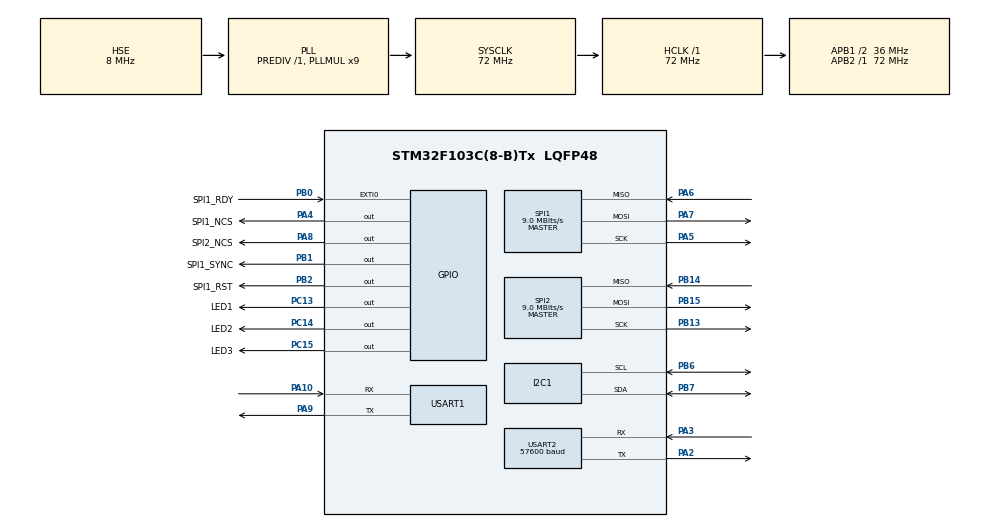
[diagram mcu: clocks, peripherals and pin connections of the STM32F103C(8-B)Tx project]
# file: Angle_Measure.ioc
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Mcu.Family=STM32F1
PA6.Mode=Full_Duplex_Master
FATFS._USE_LFN=1
SPI1.VirtualType=VM_MASTER
SPI2.VirtualType=VM_MASTER
PB0.GPIO_Label=SPI1_RDY
PB13.Signal=SPI2_SCK
PB15.Signal=SPI2_MOSI
PC15-OSC32_OUT.GPIO_Label=LED3
RCC.SYSCLKSource=RCC_SYSCLKSOURCE_PLLCLK
ProjectManager.StackSize=0x400
PD1-OSC_OUT.Signal=RCC_OSC_OUT
SPI1.Direction=SPI_DIRECTION_2LINES
RCC.HCLKFreq_Value=72000000
RCC.APB2TimFreq_Value=72000000
PB6.Signal=I2C1_SCL
SPI1.CalculateBaudRate=9.0 MBits/s
PB6.Mode=I2C
RCC.AHBFreq_Value=72000000
SPI2.BaudRatePrescaler=SPI_BAUDRATEPRESCALER_4
PB2.Signal=GPIO_Output
RCC.PLLMUL=RCC_PLL_MUL9
FATFS._USE_STRFUNC=2
PB0.GPIO_ModeDefaultEXTI=GPIO_MODE_IT_FALLING
PA14.Mode=Serial_Wire
PB14.Mode=Full_Duplex_Master
PB1.GPIO_Label=SPI1_SYNC
SPI2.CalculateBaudRate=9.0 MBits/s
PB7.Signal=I2C1_SDA
PA8.Signal=GPIO_Output
Mcu.Package=LQFP48
TIM2.Prescaler=36-1
PB1.Signal=GPIO_Output
PA6.Signal=SPI1_MISO
SPI2.Mode=SPI_MODE_MASTER
USART2.VirtualMode=VM_ASYNC
PA10.Signal=USART1_RX
SPI2.CLKPhase=SPI_PHASE_1EDGE
RCC.APB1TimFreq_Value=72000000
PC14-OSC32_IN.GPIO_Label=LED2
SPI2.Direction=SPI_DIRECTION_2LINES
PB13.Mode=Full_Duplex_Master
NVIC.USART1_IRQn=true\:0\:0\:false\:false\:true\:true\:true
SPI1.BaudRatePrescaler=SPI_BAUDRATEPRESCALER_8
PA4.GPIO_Label=SPI1_NCS
PA3.Signal=USART2_RX
PA5.Mode=Full_Duplex_Master
RCC.PLLSourceVirtual=RCC_PLLSOURCE_HSE
PA7.Mode=Full_Duplex_Master
PD1-OSC_OUT.Mode=HSE-External-Oscillator
PA10.Mode=Asynchronous
PC13-TAMPER-RTC.Signal=GPIO_Output
SPI1.CLKPhase=SPI_PHASE_2EDGE
PD0-OSC_IN.Signal=RCC_OSC_IN
RCC.APB1CLKDivider=RCC_HCLK_DIV2
PC14-OSC32_IN.Signal=GPIO_Output
USART2.BaudRate=57600
PA13.Signal=SYS_JTMS-SWDIO
PA3.Mode=Asynchronous
PA9.Mode=Asynchronous
PA8.GPIO_Label=SPI2_NCS
ProjectManager.TargetToolchain=STM32CubeIDE
I2C1.I2C_Mode=I2C_Fast
PA9.Signal=USART1_TX
RCC.USBFreq_Value=72000000
PC15-OSC32_OUT.Signal=GPIO_Output
VP_FATFS_VS_Generic.Mode=User_defined
PD0-OSC_IN.Mode=HSE-External-Oscillator
PB14.Signal=SPI2_MISO
PA5.Signal=SPI1_SCK
board=custom
PC13-TAMPER-RTC.GPIO_Label=LED1
PB15.Mode=Full_Duplex_Master
RCC.APB2Freq_Value=72000000
VP_TIM2_VS_ClockSourceINT.Mode=Internal
SPI1.Mode=SPI_MODE_MASTER
TIM2.Period=65535-1
PA13.Mode=Serial_Wire
Mcu.Name=STM32F103C(8-B)Tx
PA2.Signal=USART2_TX
FATFS._MAX_SS=1024
NVIC.EXTI0_IRQn=true\:0\:0\:false\:false\:true\:true\:true
PA4.Signal=GPIO_Output
RCC.SYSCLKFreq_VALUE=72000000
USART1.VirtualMode=VM_ASYNC
PB7.Mode=I2C
PA14.Signal=SYS_JTCK-SWCLK
PB2.GPIO_Label=SPI1_RST
ProjectManager.HeapSize=0x200
NVIC.PriorityGroup=NVIC_PRIORITYGROUP_4
PA2.Mode=Asynchronous
RCC.APB1Freq_Value=36000000
PB0.Signal=GPXTI0
PA7.Signal=SPI1_MOSI

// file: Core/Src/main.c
/* USER CODE BEGIN Header */
/**
 ******************************************************************************
 * @file           : main.c
 * @brief          : Main program body
 ******************************************************************************
 * @attention
 *
 * <h2><center>&copy; Copyright (c) 2020 STMicroelectronics.
 * All rights reserved.</center></h2>
 *
 * This software component is licensed by ST under BSD 3-Clause license,
 * the "License"; You may not use this file except in compliance with the
 * License. You may obtain a copy of the License at:
 *                        opensource.org/licenses/BSD-3-Clause
 *
 ******************************************************************************
 */
/* USER CODE END Header */
#include "main.h"
#include "fatfs.h"

/* USER CODE BEGIN Includes */
#include "fatfs_sd.h"
#include "string.h"
#include "stdio.h"
#include "stdint.h"
#include "ads1256.h"
#include "file_handling.h"
#include "UartRingbuffer.h"
#include "stm32f1xx_it.h"
//#include "MPU6050.h"
#include "mpu60501.h"

/* USER CODE END Includes */

/* USER CODE BEGIN PD */

#define FILE_BASE_NAME "DIR"
/* USER CODE END PD */

I2C_HandleTypeDef hi2c1;

SPI_HandleTypeDef hspi1;
SPI_HandleTypeDef hspi2;

TIM_HandleTypeDef htim2;

UART_HandleTypeDef huart1;
UART_HandleTypeDef huart2;

/* USER CODE BEGIN PV */

FATFS fs;
FIL fil;
FRESULT fresult;
extern char buffer[512];
char *exchange_buffer1[1];
int conversion_trigger = 0;
int line_counter = 0;
//char uart_buffer[128];

MPU6050_t MPU6050;

typedef struct __attribute__((packed)) _data_buffer {
	uint32_t elapsed;
	int16_t angleX_n;
	int16_t angleY_n;
	uint32_t adc_return1;
	uint32_t adc_return2;
	uint32_t adc_return3;
	uint32_t adc_return4;
	uint32_t adc_return5;
	uint32_t adc_return6;
	uint32_t adc_return7;
	uint32_t adc_return8;
} data_buffer;

unsigned int j;

//char BufferOut[512];

uint32_t time_counter = 0;

//extern float angleX, angleY, angleZ;
//extern unsigned long preInterval;

/* USER CODE END PV */

void SystemClock_Config(void);
static void MX_GPIO_Init(void);
static void MX_TIM2_Init(void);
static void MX_SPI1_Init(void);
static void MX_USART1_UART_Init(void);
static void MX_SPI2_Init(void);
static void MX_I2C1_Init(void);
static void MX_USART2_UART_Init(void);

/* USER CODE BEGIN 0 */

const uint8_t BASE_NAME_SIZE = sizeof(FILE_BASE_NAME) - 1;
char fileName[] = FILE_BASE_NAME "00.txt";

char cmd = 0;

/* USER CODE END 0 */

int main(void)
{

	/* MCU Configuration--------------------------------------------------------*/

	/* Reset of all peripherals, Initializes the Flash interface and the Systick. */
	HAL_Init();

	/* USER CODE BEGIN Init */
	for (j = 0; j<sizeof(buffer);j++)
	{
		buffer[j] = '\0';
		if(j == 511)
		{
			buffer[j] = '\n';
		}
	}

	/* USER CODE END Init */

	/* Configure the system clock */
	SystemClock_Config();

	/* Initialize all configured peripherals */
	MX_GPIO_Init();
	MX_TIM2_Init();
	MX_SPI1_Init();
	MX_USART1_UART_Init();
	MX_FATFS_Init();
	MX_SPI2_Init();
	MX_I2C1_Init();
	MX_USART2_UART_Init();
	/* USER CODE BEGIN 2 */
	HAL_TIM_Base_Start(&htim2);
	HAL_GPIO_WritePin(SPI1_RST_GPIO_Port, SPI1_RST_Pin, 1);
	Ringbuf_init();
	HAL_GPIO_WritePin(LED1_GPIO_Port, LED1_Pin, 0);
	HAL_GPIO_WritePin(LED2_GPIO_Port, LED2_Pin, 1);
	HAL_GPIO_WritePin(LED3_GPIO_Port, LED3_Pin, 1);
	data_buffer sensor_info;
	HAL_Delay(1000);
	send_uart("Inicializando lado direito. Por favor, aguarde...\n");

	initADS();

	send_uart("Montando SD...\n");

	mount_sd();

	create_file_mod(BASE_NAME_SIZE, fileName);

	send_uart("Inicializando IMU...\n");
	//MPU6050_Init();
	//MPU6050_Retrieve_Data();
	while (MPU60501_Init() == 1);
	send_uart("IMU inicializada com sucesso. Sistema pronto.\n");
	/* USER CODE END 2 */

	/* Infinite loop */
	while (1) {

		/* USER CODE BEGIN 3 */
		// ------------------------------------
		// Testing the ADS1256 functions
		// ------------------------------------
		//send_uart("Faaaaaaaaala Nigeeeeeel\n");
		//MPU6050_Update();
		MPU60501_Read_All(&MPU6050);
		//HAL_Delay(50);

		if (conversion_trigger == 1) {
			if (GetMicros() - time_counter > 6500)
			{
				sensor_info.adc_return1 = read_Value(0x68);
				sensor_info.adc_return2 = read_Value(0x58);
				sensor_info.adc_return4 = read_Value(0x48);
				sensor_info.adc_return5 = read_Value(0x38);
				sensor_info.adc_return6 = read_Value(0x28);
				sensor_info.adc_return7 = read_Value(0x18);
				sensor_info.adc_return8 = read_Value(0x08);
				sensor_info.adc_return3 = read_Value(0x78);
				sensor_info.elapsed = UptimeMillis;
				sensor_info.angleX_n = MPU6050.KalmanAngleX*100;
				sensor_info.angleY_n = MPU6050.KalmanAngleY*100;
				/*sprintf(buffer,"%lu\t%hi\t%hi\t%lu\t%lu\t%lu\t%lu\t%lu\t%lu\t%lu\t%lu\n",
						sensor_info.elapsed,sensor_info.angleX_n,sensor_info.angleY_n,sensor_info.adc_return1,
						sensor_info.adc_return2, sensor_info.adc_return4,
						sensor_info.adc_return5, sensor_info.adc_return6,
						sensor_info.adc_return7, sensor_info.adc_return8,
						sensor_info.adc_return3);*/
				//send_uart(buffer);
				time_counter = GetMicros();
				//				const uint8_t buflen = strlen(buffer);
				//				memccpy(&buffer_SD[line_counter * buflen], buffer, 0, buflen);
				//				if (line_counter * buflen > BUFFER_SIZE * ROW_SIZE - buflen) {

				char *pMyData = &sensor_info;

				for (j = 0; j<sizeof(data_buffer);j++)
				{
					buffer[j+40*line_counter] = pMyData[j];
				}
				line_counter++;
				if(line_counter == 12){
					//send_uart_byte(buffer);
					//HAL_UART_Transmit(&huart1, (uint8_t *) buffer, sizeof(buffer), 2000);
					write_file_byte(fileName);
					line_counter = 0;
					//clear_buffer_SD();
					//clear_buffer();
				}
			}
		}

		if (conversion_trigger == 2) {

		}

		if (conversion_trigger == 3) {

		}

		if (conversion_trigger == 4) {

		}
		// ------------------------------------
		// Strip of the code that treats the SD
		// ------------------------------------
		while (IsDataAvailable()) {
			//		  buffer = Uart_read();
			Get_string(buffer);
			uint8_t len = cmdlength(buffer);
			get_path();
			//

			if (!(strncmp("begin", buffer, len)))
				cmd = 'x';

			if (!(strncmp("end", buffer, len)))
				cmd = 'b';

			switch (cmd) {
			case ('x'):
																						cmd = 0;
			conversion_trigger = 1;
			UptimeMillis = 0;
			//preInterval = UptimeMillis;
			clear_buffer();
			clear_path();
			HAL_GPIO_WritePin(LED1_GPIO_Port, LED1_Pin, 1);
			HAL_GPIO_WritePin(LED2_GPIO_Port, LED2_Pin, 0);
			HAL_GPIO_WritePin(LED3_GPIO_Port, LED3_Pin, 1);
			break;

			case ('b'):
																						HAL_GPIO_WritePin(LED1_GPIO_Port, LED1_Pin, 0);
			HAL_GPIO_WritePin(LED2_GPIO_Port, LED2_Pin, 1);
			HAL_GPIO_WritePin(LED3_GPIO_Port, LED3_Pin, 1);
			cmd = 0;
			conversion_trigger = 0;
			write_file_mod(fileName, buffer_SD);
			close_file(fileName);
			clear_buffer_SD();
			clear_buffer();
			clear_path();
			create_file_mod(BASE_NAME_SIZE, fileName);
			break;

			default:
				clear_buffer();
				clear_path();
				break;
			}
		}
	}
	/* USER CODE END 3 */
}

void SystemClock_Config(void)
{
	RCC_OscInitTypeDef RCC_OscInitStruct = {0};
	RCC_ClkInitTypeDef RCC_ClkInitStruct = {0};

	/** Initializes the RCC Oscillators according to the specified parameters
	 * in the RCC_OscInitTypeDef structure.
	 */
	RCC_OscInitStruct.OscillatorType = RCC_OSCILLATORTYPE_HSE;
	RCC_OscInitStruct.HSEState = RCC_HSE_ON;
	RCC_OscInitStruct.HSEPredivValue = RCC_HSE_PREDIV_DIV1;
	RCC_OscInitStruct.HSIState = RCC_HSI_ON;
	RCC_OscInitStruct.PLL.PLLState = RCC_PLL_ON;
	RCC_OscInitStruct.PLL.PLLSource = RCC_PLLSOURCE_HSE;
	RCC_OscInitStruct.PLL.PLLMUL = RCC_PLL_MUL9;
	if (HAL_RCC_OscConfig(&RCC_OscInitStruct) != HAL_OK)
	{
		Error_Handler();
	}
	/** Initializes the CPU, AHB and APB buses clocks
	 */
	RCC_ClkInitStruct.ClockType = RCC_CLOCKTYPE_HCLK|RCC_CLOCKTYPE_SYSCLK
			|RCC_CLOCKTYPE_PCLK1|RCC_CLOCKTYPE_PCLK2;
	RCC_ClkInitStruct.SYSCLKSource = RCC_SYSCLKSOURCE_PLLCLK;
	RCC_ClkInitStruct.AHBCLKDivider = RCC_SYSCLK_DIV1;
	RCC_ClkInitStruct.APB1CLKDivider = RCC_HCLK_DIV2;
	RCC_ClkInitStruct.APB2CLKDivider = RCC_HCLK_DIV1;

	if (HAL_RCC_ClockConfig(&RCC_ClkInitStruct, FLASH_LATENCY_2) != HAL_OK)
	{
		Error_Handler();
	}
}

static void MX_I2C1_Init(void)
{

	hi2c1.Instance = I2C1;
	hi2c1.Init.ClockSpeed = 400000;
	hi2c1.Init.DutyCycle = I2C_DUTYCYCLE_2;
	hi2c1.Init.OwnAddress1 = 0;
	hi2c1.Init.AddressingMode = I2C_ADDRESSINGMODE_7BIT;
	hi2c1.Init.DualAddressMode = I2C_DUALADDRESS_DISABLE;
	hi2c1.Init.OwnAddress2 = 0;
	hi2c1.Init.GeneralCallMode = I2C_GENERALCALL_DISABLE;
	hi2c1.Init.NoStretchMode = I2C_NOSTRETCH_DISABLE;
	if (HAL_I2C_Init(&hi2c1) != HAL_OK)
	{
		Error_Handler();
	}

}

static void MX_SPI1_Init(void)
{

	/* SPI1 parameter configuration*/
	hspi1.Instance = SPI1;
	hspi1.Init.Mode = SPI_MODE_MASTER;
	hspi1.Init.Direction = SPI_DIRECTION_2LINES;
	hspi1.Init.DataSize = SPI_DATASIZE_8BIT;
	hspi1.Init.CLKPolarity = SPI_POLARITY_LOW;
	hspi1.Init.CLKPhase = SPI_PHASE_2EDGE;
	hspi1.Init.NSS = SPI_NSS_SOFT;
	hspi1.Init.BaudRatePrescaler = SPI_BAUDRATEPRESCALER_8;
	hspi1.Init.FirstBit = SPI_FIRSTBIT_MSB;
	hspi1.Init.TIMode = SPI_TIMODE_DISABLE;
	hspi1.Init.CRCCalculation = SPI_CRCCALCULATION_DISABLE;
	hspi1.Init.CRCPolynomial = 10;
	if (HAL_SPI_Init(&hspi1) != HAL_OK)
	{
		Error_Handler();
	}

}

static void MX_SPI2_Init(void)
{

	/* SPI2 parameter configuration*/
	hspi2.Instance = SPI2;
	hspi2.Init.Mode = SPI_MODE_MASTER;
	hspi2.Init.Direction = SPI_DIRECTION_2LINES;
	hspi2.Init.DataSize = SPI_DATASIZE_8BIT;
	hspi2.Init.CLKPolarity = SPI_POLARITY_LOW;
	hspi2.Init.CLKPhase = SPI_PHASE_1EDGE;
	hspi2.Init.NSS = SPI_NSS_SOFT;
	hspi2.Init.BaudRatePrescaler = SPI_BAUDRATEPRESCALER_4;
	hspi2.Init.FirstBit = SPI_FIRSTBIT_MSB;
	hspi2.Init.TIMode = SPI_TIMODE_DISABLE;
	hspi2.Init.CRCCalculation = SPI_CRCCALCULATION_DISABLE;
	hspi2.Init.CRCPolynomial = 10;
	if (HAL_SPI_Init(&hspi2) != HAL_OK)
	{
		Error_Handler();
	}

}

static void MX_TIM2_Init(void)
{

	TIM_ClockConfigTypeDef sClockSourceConfig = {0};
	TIM_MasterConfigTypeDef sMasterConfig = {0};

	htim2.Instance = TIM2;
	htim2.Init.Prescaler = 36-1;
	htim2.Init.CounterMode = TIM_COUNTERMODE_UP;
	htim2.Init.Period = 65535-1;
	htim2.Init.ClockDivision = TIM_CLOCKDIVISION_DIV1;
	htim2.Init.AutoReloadPreload = TIM_AUTORELOAD_PRELOAD_DISABLE;
	if (HAL_TIM_Base_Init(&htim2) != HAL_OK)
	{
		Error_Handler();
	}
	sClockSourceConfig.ClockSource = TIM_CLOCKSOURCE_INTERNAL;
	if (HAL_TIM_ConfigClockSource(&htim2, &sClockSourceConfig) != HAL_OK)
	{
		Error_Handler();
	}
	sMasterConfig.MasterOutputTrigger = TIM_TRGO_RESET;
	sMasterConfig.MasterSlaveMode = TIM_MASTERSLAVEMODE_DISABLE;
	if (HAL_TIMEx_MasterConfigSynchronization(&htim2, &sMasterConfig) != HAL_OK)
	{
		Error_Handler();
	}

}

static void MX_USART1_UART_Init(void)
{

	huart1.Instance = USART1;
	huart1.Init.BaudRate = 115200;
	huart1.Init.WordLength = UART_WORDLENGTH_8B;
	huart1.Init.StopBits = UART_STOPBITS_1;
	huart1.Init.Parity = UART_PARITY_NONE;
	huart1.Init.Mode = UART_MODE_TX_RX;
	huart1.Init.HwFlowCtl = UART_HWCONTROL_NONE;
	huart1.Init.OverSampling = UART_OVERSAMPLING_16;
	if (HAL_UART_Init(&huart1) != HAL_OK)
	{
		Error_Handler();
	}

}

static void MX_USART2_UART_Init(void)
{

	huart2.Instance = USART2;
	huart2.Init.BaudRate = 57600;
	huart2.Init.WordLength = UART_WORDLENGTH_8B;
	huart2.Init.StopBits = UART_STOPBITS_1;
	huart2.Init.Parity = UART_PARITY_NONE;
	huart2.Init.Mode = UART_MODE_TX_RX;
	huart2.Init.HwFlowCtl = UART_HWCONTROL_NONE;
	huart2.Init.OverSampling = UART_OVERSAMPLING_16;
	if (HAL_UART_Init(&huart2) != HAL_OK)
	{
		Error_Handler();
	}

}

static void MX_GPIO_Init(void)
{
	GPIO_InitTypeDef GPIO_InitStruct = {0};

	/* GPIO Ports Clock Enable */
	__HAL_RCC_GPIOC_CLK_ENABLE();
	__HAL_RCC_GPIOD_CLK_ENABLE();
	__HAL_RCC_GPIOA_CLK_ENABLE();
	__HAL_RCC_GPIOB_CLK_ENABLE();

	/*Configure GPIO pin Output Level */
	HAL_GPIO_WritePin(GPIOC, LED1_Pin|LED2_Pin|LED3_Pin, GPIO_PIN_RESET);

	/*Configure GPIO pin Output Level */
	HAL_GPIO_WritePin(GPIOA, SPI1_NCS_Pin|SPI2_NCS_Pin, GPIO_PIN_RESET);

	/*Configure GPIO pin Output Level */
	HAL_GPIO_WritePin(GPIOB, SPI1_SYNC_Pin|SPI1_RST_Pin, GPIO_PIN_RESET);

	/*Configure GPIO pins : LED1_Pin LED2_Pin LED3_Pin */
	GPIO_InitStruct.Pin = LED1_Pin|LED2_Pin|LED3_Pin;
	GPIO_InitStruct.Mode = GPIO_MODE_OUTPUT_PP;
	GPIO_InitStruct.Pull = GPIO_NOPULL;
	GPIO_InitStruct.Speed = GPIO_SPEED_FREQ_LOW;
	HAL_GPIO_Init(GPIOC, &GPIO_InitStruct);

	/*Configure GPIO pins : SPI1_NCS_Pin SPI2_NCS_Pin */
	GPIO_InitStruct.Pin = SPI1_NCS_Pin|SPI2_NCS_Pin;
	GPIO_InitStruct.Mode = GPIO_MODE_OUTPUT_PP;
	GPIO_InitStruct.Pull = GPIO_NOPULL;
	GPIO_InitStruct.Speed = GPIO_SPEED_FREQ_LOW;
	HAL_GPIO_Init(GPIOA, &GPIO_InitStruct);

	/*Configure GPIO pin : SPI1_RDY_Pin */
	GPIO_InitStruct.Pin = SPI1_RDY_Pin;
	GPIO_InitStruct.Mode = GPIO_MODE_IT_FALLING;
	GPIO_InitStruct.Pull = GPIO_NOPULL;
	HAL_GPIO_Init(SPI1_RDY_GPIO_Port, &GPIO_InitStruct);

	/*Configure GPIO pins : SPI1_SYNC_Pin SPI1_RST_Pin */
	GPIO_InitStruct.Pin = SPI1_SYNC_Pin|SPI1_RST_Pin;
	GPIO_InitStruct.Mode = GPIO_MODE_OUTPUT_PP;
	GPIO_InitStruct.Pull = GPIO_NOPULL;
	GPIO_InitStruct.Speed = GPIO_SPEED_FREQ_LOW;
	HAL_GPIO_Init(GPIOB, &GPIO_InitStruct);

	/* EXTI interrupt init*/
	HAL_NVIC_SetPriority(EXTI0_IRQn, 0, 0);
	HAL_NVIC_EnableIRQ(EXTI0_IRQn);

}

/* USER CODE BEGIN 4 */
void delayMicroseconds(uint16_t us) {
	__HAL_TIM_SET_COUNTER(&htim2, 0);  // set the counter value a 0
	while (__HAL_TIM_GET_COUNTER(&htim2) < us)
		;  // wait for the counter to reach the us input in the parameter
}
/* USER CODE END 4 */

void Error_Handler(void)
{
	__disable_irq();
	while (1) {
	}
}

/************************ (C) COPYRIGHT STMicroelectronics *****END OF FILE****/
